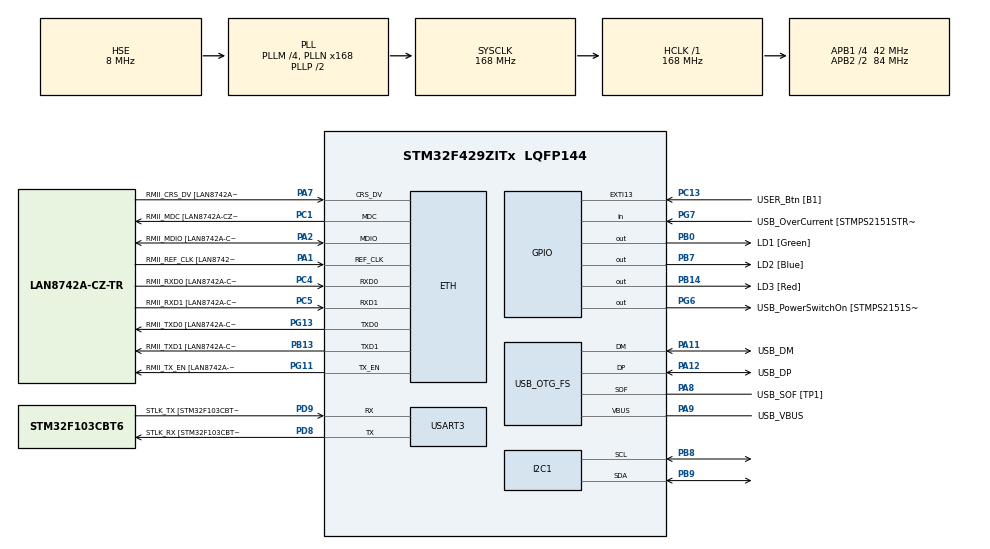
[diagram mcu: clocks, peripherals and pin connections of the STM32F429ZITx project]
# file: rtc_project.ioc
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Mcu.Family=STM32F4
RCC.CortexFreq_Value=168000000
PG6.Signal=GPIO_Output
PB14.GPIO_Label=LD3 [Red]
PG6.GPIO_Label=USB_PowerSwitchOn [STMPS2151STR_EN]
PA14.GPIO_Label=TCK
RCC.SYSCLKSourceVirtual=RCC_SYSCLKSOURCE_PLLCLK
PA11.Mode=Device_Only
PB0.GPIO_Label=LD1 [Green]
PC14/OSC32_IN.Mode=LSE-External-Oscillator
PC5.Mode=RMII
PC13.GPIO_Label=USER_Btn [B1]
PB13.GPIO_Label=RMII_TXD1 [LAN8742A-CZ-TR_TXD1]
PB13.Signal=ETH_TXD1
PG13.Signal=ETH_TXD0
PD9.Mode=Asynchronous
PG11.Signal=ETH_TX_EN
RCC.SYSCLKSource=RCC_SYSCLKSOURCE_PLLCLK
ProjectManager.StackSize=0x400
VP_FREERTOS_VS_CMSIS_V2.Mode=CMSIS_V2
PA12.Signal=USB_OTG_FS_DP
ETH.PHY_Value=0
PH0/OSC_IN.Mode=HSE-External-Clock-Source
RCC.HCLKFreq_Value=168000000
RCC.APB2TimFreq_Value=168000000
PH1/OSC_OUT.Signal=RCC_OSC_OUT
PD8.Signal=USART3_TX
RCC.AHBFreq_Value=168000000
RCC.HSE_VALUE=8000000
RCC.PLLMUL=RCC_PLL_MUL9
PC4.GPIO_Label=RMII_RXD0 [LAN8742A-CZ-TR_RXD0]
PA14.Mode=Serial_Wire
PA10.GPIO_Label=USB_ID
PB7.Signal=GPIO_Output
PA8.Signal=USB_OTG_FS_SOF
PG13.Mode=RMII
ETH.PHY_Name=LAN8742A_PHY_ADDRESS
PH1/OSC_OUT.Mode=HSE-External-Clock-Source
PB7.GPIO_Label=LD2 [Blue]
PB9.Signal=I2C1_SDA
Mcu.Package=LQFP144
PC14/OSC32_IN.Signal=RCC_OSC32_IN
PA2.GPIO_Label=RMII_MDIO [LAN8742A-CZ-TR_MDIO]
PA10.Signal=USB_OTG_FS_ID
USB_OTG_FS.VirtualMode=Device_Only
RCC.APB2CLKDivider=RCC_HCLK_DIV2
RCC.APB1TimFreq_Value=84000000
PG11.GPIO_Label=RMII_TX_EN [LAN8742A-CZ-TR_TXEN]
PC5.Signal=ETH_RXD1
PB13.Mode=RMII
PC4.Mode=RMII
FREERTOS.Tasks01=defaultTask,24,128,StartDefaultTask,Default,NULL,Dynamic,NULL,NULL;rtc_task,8,128,rtc_task_function,Default,NULL,Dynamic,NULL,NULL
PA7.Mode=RMII
PG7.Signal=GPIO_Input
PD9.GPIO_Label=STLK_TX [STM32F103CBT6_PA2]
PC13.Signal=GPXTI13
PA9.GPIO_Label=USB_VBUS
PC4.Signal=ETH_RXD0
PA11.GPIO_Label=USB_DM
PD9.Signal=USART3_RX
RCC.APB1CLKDivider=RCC_HCLK_DIV4
PG13.GPIO_Label=RMII_TXD0 [LAN8742A-CZ-TR_TXD0]
ETH.PhyAddress=0
PA12.GPIO_Label=USB_DP
PD8.GPIO_Label=STLK_RX [STM32F103CBT6_PA3]
PA13.Signal=SYS_JTMS-SWDIO
PA9.Mode=Activate_VBUS
PA8.GPIO_Label=USB_SOF [TP1]
ProjectManager.TargetToolchain=TrueSTUDIO
PB9.Mode=I2C
PA9.Signal=USB_OTG_FS_VBUS
RCC.USBFreq_Value=48000000
PD8.Mode=Asynchronous
PA1.Signal=ETH_REF_CLK
PB14.Signal=GPIO_Output
board=NUCLEO-F429ZI
RCC.VCOOutputFreq_Value=336000000
PH0/OSC_IN.Signal=RCC_OSC_IN
RCC.APB2Freq_Value=84000000
PA1.Mode=RMII
RCC.PRESCALERUSB=RCC_USBCLKSOURCE_PLL_DIV1_5
PG7.GPIO_Label=USB_OverCurrent [STMPS2151STR_FAULT]
PA1.GPIO_Label=RMII_REF_CLK [LAN8742A-CZ-TR_REFCLK0]
PC1.GPIO_Label=RMII_MDC [LAN8742A-CZ-TR_MDC]
PA13.Mode=Serial_Wire
Mcu.Name=STM32F429ZITx
PA2.Signal=ETH_MDIO
PA13.GPIO_Label=TMS
RCC.APB2TimCLKDivider=2
RCC.48MHZClocksFreq_Value=48000000
RCC.SYSCLKFreq_VALUE=168000000
ETH.MediaInterface=ETH_MEDIA_INTERFACE_RMII
PA7.GPIO_Label=RMII_CRS_DV [LAN8742A-CZ-TR_CRS_DV]
PA12.Mode=Device_Only
PC5.GPIO_Label=RMII_RXD1 [LAN8742A-CZ-TR_RXD1]
USART3.VirtualMode=VM_ASYNC
PC15/OSC32_OUT.Mode=LSE-External-Oscillator
PG11.Mode=RMII
PA11.Signal=USB_OTG_FS_DM
PA14.Signal=SYS_JTCK-SWCLK
ProjectManager.HeapSize=0x200
RCC.HSI_VALUE=16000000
PH0/OSC_IN.GPIO_Label=MCO [STM32F103CBT6_PA8]
RCC.PLLQ=7
NVIC.PriorityGroup=NVIC_PRIORITYGROUP_4
RCC.PLLM=4
PB8.Mode=I2C
RCC.PLLN=168
PA2.Mode=RMII
PB8.Signal=I2C1_SCL
PC15/OSC32_OUT.Signal=RCC_OSC32_OUT
PA8.Mode=Activate_SOF_FS
RCC.APB1Freq_Value=42000000
PB0.Signal=GPIO_Output
PC1.Signal=ETH_MDC
PC1.Mode=RMII
PA7.Signal=ETH_CRS_DV

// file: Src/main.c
/* USER CODE BEGIN Header */
/**
 ******************************************************************************
 * @file           : main.c
 * @brief          : Main program body
 ******************************************************************************
 * @attention
 *
 * <h2><center>&copy; Copyright (c) 2020 STMicroelectronics.
 * All rights reserved.</center></h2>
 *
 * This software component is licensed by ST under Ultimate Liberty license
 * SLA0044, the "License"; You may not use this file except in compliance with
 * the License. You may obtain a copy of the License at:
 *                             www.st.com/SLA0044
 *
 ******************************************************************************
 */
/* USER CODE END Header */

#include "main.h"
#include "cmsis_os.h"

/* USER CODE BEGIN Includes */

#include <stdio.h>
#include <stdlib.h>
#include <string.h>

/* USER CODE END Includes */

ETH_HandleTypeDef heth;

I2C_HandleTypeDef hi2c1;

UART_HandleTypeDef huart3;

PCD_HandleTypeDef hpcd_USB_OTG_FS;

/* Definitions for defaultTask */
osThreadId_t defaultTaskHandle;
const osThreadAttr_t defaultTask_attributes = {
		.name = "defaultTask",
		.priority = (osPriority_t) osPriorityNormal,
		.stack_size = 128 * 4
};
/* Definitions for rtc_task */
osThreadId_t rtc_taskHandle;
const osThreadAttr_t rtc_task_attributes = {
		.name = "rtc_task",
		.priority = (osPriority_t) osPriorityLow,
		.stack_size = 128 * 4
};

void SystemClock_Config(void);
static void MX_GPIO_Init(void);
static void MX_ETH_Init(void);
static void MX_USART3_UART_Init(void);
static void MX_USB_OTG_FS_PCD_Init(void);
static void MX_I2C1_Init(void);
void StartDefaultTask(void *argument);
void rtc_task_function(void *argument);

int main(void)
{

	/* MCU Configuration--------------------------------------------------------*/

	/* Reset of all peripherals, Initializes the Flash interface and the Systick. */
	HAL_Init();

	/* Configure the system clock */
	SystemClock_Config();

	/* Initialize all configured peripherals */
	MX_GPIO_Init();
	MX_ETH_Init();
	MX_USART3_UART_Init();
	MX_USB_OTG_FS_PCD_Init();
	MX_I2C1_Init();

	/* Init scheduler */
	osKernelInitialize();

	/* Create the thread(s) */
	/* creation of defaultTask */
	defaultTaskHandle = osThreadNew(StartDefaultTask, NULL, &defaultTask_attributes);

	/* creation of rtc_task */
	rtc_taskHandle = osThreadNew(rtc_task_function, NULL, &rtc_task_attributes);

	/* USER CODE BEGIN RTOS_THREADS */
	/* add threads, ... */
	//char start_bit = 0x00;
	//HAL_I2C_Mem_Write(&hi2c1, 0xD0, 0x00,1, &start_bit, 1, 1000);
	//	char year = 0x20;
	//	HAL_I2C_Mem_Write(&hi2c1, 0xD0, 0x06,1, &year, 1, 1000);
	//	char month = 0x11;
	//	HAL_I2C_Mem_Write(&hi2c1, 0xD0, 0x05,1, &month, 1, 1000);
	//	char date = 0x16;
	//	HAL_I2C_Mem_Write(&hi2c1, 0xD0, 0x04,1, &date, 1, 1000);
	//	char day = 0x02;
	//	HAL_I2C_Mem_Write(&hi2c1, 0xD0, 0x03,1, &day, 1, 1000);
	//	char hours = 0x13;
	//	HAL_I2C_Mem_Write(&hi2c1, 0xD0, 0x02,1, &hours, 1, 1000);
	//	char min = 0x14;
	//	HAL_I2C_Mem_Write(&hi2c1, 0xD0, 0x01,1, &min, 1, 1000);
	//	char sec = 0x00;
	//	HAL_I2C_Mem_Write(&hi2c1, 0xD0, 0x00,1, &sec, 1, 1000);
	/* USER CODE END RTOS_THREADS */

	/* Start scheduler */
	osKernelStart();

	/* We should never get here as control is now taken by the scheduler */
	/* Infinite loop */
	while (1)
	{

	}
}

void SystemClock_Config(void)
{
	RCC_OscInitTypeDef RCC_OscInitStruct = {0};
	RCC_ClkInitTypeDef RCC_ClkInitStruct = {0};

	/** Configure the main internal regulator output voltage
	 */
	__HAL_RCC_PWR_CLK_ENABLE();
	__HAL_PWR_VOLTAGESCALING_CONFIG(PWR_REGULATOR_VOLTAGE_SCALE1);
	/** Initializes the CPU, AHB and APB busses clocks
	 */
	RCC_OscInitStruct.OscillatorType = RCC_OSCILLATORTYPE_HSE;
	RCC_OscInitStruct.HSEState = RCC_HSE_BYPASS;
	RCC_OscInitStruct.PLL.PLLState = RCC_PLL_ON;
	RCC_OscInitStruct.PLL.PLLSource = RCC_PLLSOURCE_HSE;
	RCC_OscInitStruct.PLL.PLLM = 4;
	RCC_OscInitStruct.PLL.PLLN = 168;
	RCC_OscInitStruct.PLL.PLLP = RCC_PLLP_DIV2;
	RCC_OscInitStruct.PLL.PLLQ = 7;
	if (HAL_RCC_OscConfig(&RCC_OscInitStruct) != HAL_OK)
	{
		Error_Handler();
	}
	/** Initializes the CPU, AHB and APB busses clocks
	 */
	RCC_ClkInitStruct.ClockType = RCC_CLOCKTYPE_HCLK|RCC_CLOCKTYPE_SYSCLK
			|RCC_CLOCKTYPE_PCLK1|RCC_CLOCKTYPE_PCLK2;
	RCC_ClkInitStruct.SYSCLKSource = RCC_SYSCLKSOURCE_PLLCLK;
	RCC_ClkInitStruct.AHBCLKDivider = RCC_SYSCLK_DIV1;
	RCC_ClkInitStruct.APB1CLKDivider = RCC_HCLK_DIV4;
	RCC_ClkInitStruct.APB2CLKDivider = RCC_HCLK_DIV2;

	if (HAL_RCC_ClockConfig(&RCC_ClkInitStruct, FLASH_LATENCY_5) != HAL_OK)
	{
		Error_Handler();
	}
}

static void MX_ETH_Init(void)
{

	heth.Instance = ETH;
	heth.Init.AutoNegotiation = ETH_AUTONEGOTIATION_ENABLE;
	heth.Init.PhyAddress = LAN8742A_PHY_ADDRESS;
	heth.Init.MACAddr[0] =   0x00;
	heth.Init.MACAddr[1] =   0x80;
	heth.Init.MACAddr[2] =   0xE1;
	heth.Init.MACAddr[3] =   0x00;
	heth.Init.MACAddr[4] =   0x00;
	heth.Init.MACAddr[5] =   0x00;
	heth.Init.RxMode = ETH_RXPOLLING_MODE;
	heth.Init.ChecksumMode = ETH_CHECKSUM_BY_HARDWARE;
	heth.Init.MediaInterface = ETH_MEDIA_INTERFACE_RMII;

	if (HAL_ETH_Init(&heth) != HAL_OK)
	{
		Error_Handler();
	}

}

static void MX_I2C1_Init(void)
{

	hi2c1.Instance = I2C1;
	hi2c1.Init.ClockSpeed = 100000;
	hi2c1.Init.DutyCycle = I2C_DUTYCYCLE_2;
	hi2c1.Init.OwnAddress1 = 0;
	hi2c1.Init.AddressingMode = I2C_ADDRESSINGMODE_7BIT;
	hi2c1.Init.DualAddressMode = I2C_DUALADDRESS_DISABLE;
	hi2c1.Init.OwnAddress2 = 0;
	hi2c1.Init.GeneralCallMode = I2C_GENERALCALL_DISABLE;
	hi2c1.Init.NoStretchMode = I2C_NOSTRETCH_DISABLE;
	if (HAL_I2C_Init(&hi2c1) != HAL_OK)
	{
		Error_Handler();
	}
	/** Configure Analogue filter
	 */
	if (HAL_I2CEx_ConfigAnalogFilter(&hi2c1, I2C_ANALOGFILTER_ENABLE) != HAL_OK)
	{
		Error_Handler();
	}
	/** Configure Digital filter
	 */
	if (HAL_I2CEx_ConfigDigitalFilter(&hi2c1, 0) != HAL_OK)
	{
		Error_Handler();
	}

}

static void MX_USART3_UART_Init(void)
{

	huart3.Instance = USART3;
	huart3.Init.BaudRate = 115200;
	huart3.Init.WordLength = UART_WORDLENGTH_8B;
	huart3.Init.StopBits = UART_STOPBITS_1;
	huart3.Init.Parity = UART_PARITY_NONE;
	huart3.Init.Mode = UART_MODE_TX_RX;
	huart3.Init.HwFlowCtl = UART_HWCONTROL_NONE;
	huart3.Init.OverSampling = UART_OVERSAMPLING_16;
	if (HAL_UART_Init(&huart3) != HAL_OK)
	{
		Error_Handler();
	}

}

static void MX_USB_OTG_FS_PCD_Init(void)
{

	hpcd_USB_OTG_FS.Instance = USB_OTG_FS;
	hpcd_USB_OTG_FS.Init.dev_endpoints = 4;
	hpcd_USB_OTG_FS.Init.speed = PCD_SPEED_FULL;
	hpcd_USB_OTG_FS.Init.dma_enable = DISABLE;
	hpcd_USB_OTG_FS.Init.phy_itface = PCD_PHY_EMBEDDED;
	hpcd_USB_OTG_FS.Init.Sof_enable = ENABLE;
	hpcd_USB_OTG_FS.Init.low_power_enable = DISABLE;
	hpcd_USB_OTG_FS.Init.lpm_enable = DISABLE;
	hpcd_USB_OTG_FS.Init.vbus_sensing_enable = ENABLE;
	hpcd_USB_OTG_FS.Init.use_dedicated_ep1 = DISABLE;
	if (HAL_PCD_Init(&hpcd_USB_OTG_FS) != HAL_OK)
	{
		Error_Handler();
	}

}

static void MX_GPIO_Init(void)
{
	GPIO_InitTypeDef GPIO_InitStruct = {0};

	/* GPIO Ports Clock Enable */
	__HAL_RCC_GPIOC_CLK_ENABLE();
	__HAL_RCC_GPIOH_CLK_ENABLE();
	__HAL_RCC_GPIOA_CLK_ENABLE();
	__HAL_RCC_GPIOB_CLK_ENABLE();
	__HAL_RCC_GPIOD_CLK_ENABLE();
	__HAL_RCC_GPIOG_CLK_ENABLE();

	/*Configure GPIO pin Output Level */
	HAL_GPIO_WritePin(GPIOB, LD1_Pin|LD3_Pin|LD2_Pin, GPIO_PIN_RESET);

	/*Configure GPIO pin Output Level */
	HAL_GPIO_WritePin(USB_PowerSwitchOn_GPIO_Port, USB_PowerSwitchOn_Pin, GPIO_PIN_RESET);

	/*Configure GPIO pin : USER_Btn_Pin */
	GPIO_InitStruct.Pin = USER_Btn_Pin;
	GPIO_InitStruct.Mode = GPIO_MODE_IT_RISING;
	GPIO_InitStruct.Pull = GPIO_NOPULL;
	HAL_GPIO_Init(USER_Btn_GPIO_Port, &GPIO_InitStruct);

	/*Configure GPIO pins : LD1_Pin LD3_Pin LD2_Pin */
	GPIO_InitStruct.Pin = LD1_Pin|LD3_Pin|LD2_Pin;
	GPIO_InitStruct.Mode = GPIO_MODE_OUTPUT_PP;
	GPIO_InitStruct.Pull = GPIO_NOPULL;
	GPIO_InitStruct.Speed = GPIO_SPEED_FREQ_LOW;
	HAL_GPIO_Init(GPIOB, &GPIO_InitStruct);

	/*Configure GPIO pin : USB_PowerSwitchOn_Pin */
	GPIO_InitStruct.Pin = USB_PowerSwitchOn_Pin;
	GPIO_InitStruct.Mode = GPIO_MODE_OUTPUT_PP;
	GPIO_InitStruct.Pull = GPIO_NOPULL;
	GPIO_InitStruct.Speed = GPIO_SPEED_FREQ_LOW;
	HAL_GPIO_Init(USB_PowerSwitchOn_GPIO_Port, &GPIO_InitStruct);

	/*Configure GPIO pin : USB_OverCurrent_Pin */
	GPIO_InitStruct.Pin = USB_OverCurrent_Pin;
	GPIO_InitStruct.Mode = GPIO_MODE_INPUT;
	GPIO_InitStruct.Pull = GPIO_NOPULL;
	HAL_GPIO_Init(USB_OverCurrent_GPIO_Port, &GPIO_InitStruct);

}

/* USER CODE BEGIN 4 */

uint8_t buffer_RTC_data[7] = {};

uint8_t addr_device = 0xD0;
uint8_t register_add_beg = 0x00;
uint8_t register_add_sec = 0x00;
uint8_t register_add_min = 0x01;
uint8_t register_add_hour = 0x02;
uint8_t register_add_day = 0x03;
uint8_t register_add_date = 0x04;
uint8_t register_add_month = 0x05;
uint8_t register_add_year = 0x06;

Horodate_data horodate_data;

HAL_StatusTypeDef get_RTC_data(){
	HAL_StatusTypeDef status;
	if (HAL_I2C_Master_Transmit(&hi2c1, 0x68<<1, &register_add_beg, 1, 10) == HAL_OK){
		status = HAL_I2C_Master_Receive(&hi2c1, 0x68<<1, (uint8_t*)buffer_RTC_data, 7, 10);
	}
	return status;
}

void get_sec(){
	horodate_data.tenth_sec = ((buffer_RTC_data[0] & 0x70)>>4);
	horodate_data.sec = (buffer_RTC_data[0] & 0x0F);
}

void get_min(){
	horodate_data.tenth_min = ((buffer_RTC_data[1] & 0x70)>>4);
	horodate_data.min = (buffer_RTC_data[1] & 0x0F);
}

void get_hour(){
	horodate_data.tenth_hour = ((buffer_RTC_data[2] & 0x10)>>4);
	horodate_data.hour = (buffer_RTC_data[2] & 0x0F);
}

void get_day(){
	horodate_data.day = (buffer_RTC_data[3] & 0x07);
}

void get_date(){
	horodate_data.tenth_date = ((buffer_RTC_data[4] & 0x30)>>4);
	horodate_data.date = (buffer_RTC_data[4] & 0x0F);
}

void get_month(){
	horodate_data.tenth_month = ((buffer_RTC_data[5] & 0x10)>>4);
	horodate_data.month = (buffer_RTC_data[5] & 0x0F);
}

void get_year(){
	horodate_data.tenth_year = ((buffer_RTC_data[6] & 0xF0)>>4);
	horodate_data.year = (buffer_RTC_data[6] & 0x0F);
}

void compute_message(){
	char message[21];
	message[0] = 'd';
	message[1] = horodate_data.tenth_year +48;
	message[2] = horodate_data.year +48;
	message[3] = '/';
	message[4] = horodate_data.tenth_month +48;
	message[5] = horodate_data.month +48;
	message[6] = '/';
	message[7] = horodate_data.tenth_date +48;
	message[8] = horodate_data.date +48;
	message[9] = '-';
	message[10] = horodate_data.tenth_hour +48;
	message[11] = horodate_data.hour +48;
	message[12] = ':';
	message[13] = horodate_data.tenth_min +48;
	message[14] = horodate_data.min +48;
	message[15] = ':';
	message[16] = horodate_data.tenth_sec +48;
	message[17] = horodate_data.sec +48;
	message[18] = ' ';
	message[19] = horodate_data.day +48;
	message[20] = '\n';
	HAL_UART_Transmit(&huart3,(uint8_t *) message, 21, 10);
}

/* USER CODE END 4 */

void StartDefaultTask(void *argument)
{
	for(;;)
	{
		osDelay(1);
	}
}

void rtc_task_function(void *argument)
{
	/* USER CODE BEGIN rtc_task_function */

	/* Infinite loop */
	for(;;)
	{
		if(HAL_GPIO_ReadPin(USER_Btn_GPIO_Port, USER_Btn_Pin)){
			if (get_RTC_data() == HAL_OK){
				get_sec();
				get_min();
				get_hour();
				get_day();
				get_date();
				get_month();
				get_year();
				compute_message();
				osDelay(100);
			}
		}
		osDelay(100);
	}
	/* USER CODE END rtc_task_function */
}

void Error_Handler(void)
{
}

/************************ (C) COPYRIGHT STMicroelectronics *****END OF FILE****/
